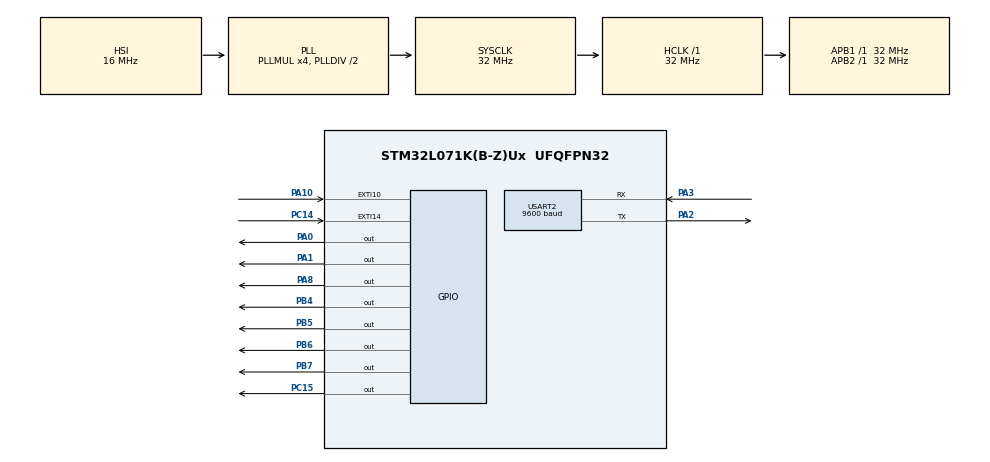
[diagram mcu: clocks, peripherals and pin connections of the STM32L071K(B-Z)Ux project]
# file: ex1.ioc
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Dma.MEMTOMEM.0.Direction=DMA_MEMORY_TO_MEMORY
Dma.MEMTOMEM.0.Instance=DMA1_Channel1
Dma.MEMTOMEM.0.MemDataAlignment=DMA_MDATAALIGN_BYTE
Dma.MEMTOMEM.0.MemInc=DMA_MINC_ENABLE
Dma.MEMTOMEM.0.Mode=DMA_NORMAL
Dma.MEMTOMEM.0.PeriphDataAlignment=DMA_PDATAALIGN_BYTE
Dma.MEMTOMEM.0.PeriphInc=DMA_PINC_ENABLE
Dma.MEMTOMEM.0.Priority=DMA_PRIORITY_LOW
Dma.Request0=MEMTOMEM
Dma.Request1=USART2_RX
Dma.USART2_RX.1.Direction=DMA_PERIPH_TO_MEMORY
Dma.USART2_RX.1.Instance=DMA1_Channel5
Dma.USART2_RX.1.MemDataAlignment=DMA_MDATAALIGN_BYTE
Dma.USART2_RX.1.MemInc=DMA_MINC_ENABLE
Dma.USART2_RX.1.Mode=DMA_CIRCULAR
Dma.USART2_RX.1.PeriphDataAlignment=DMA_PDATAALIGN_BYTE
Dma.USART2_RX.1.PeriphInc=DMA_PINC_DISABLE
Dma.USART2_RX.1.Priority=DMA_PRIORITY_LOW
Mcu.Family=STM32L0
Mcu.Name=STM32L071K(B-Z)Ux
Mcu.Package=UFQFPN32
NVIC.DMA1_Channel1_IRQn=true\:0\:0\:false\:false\:true\:true\:true
NVIC.DMA1_Channel4_5_6_7_IRQn=true\:0\:0\:false\:false\:true\:false\:true
NVIC.EXTI4_15_IRQn=true\:0\:0\:false\:false\:true\:true\:true
NVIC.TIM6_IRQn=true\:0\:0\:false\:false\:true\:true\:true
NVIC.USART2_IRQn=true\:0\:0\:false\:false\:true\:true\:true
PA0.Signal=GPIO_Output
PA1.Signal=GPIO_Output
PA10.Signal=GPXTI10
PA13.Mode=Serial_Wire
PA13.Signal=SYS_SWDIO
PA14.Mode=Serial_Wire
PA14.Signal=SYS_SWCLK
PA2.Mode=Asynchronous
PA2.Signal=USART2_TX
PA3.Mode=Asynchronous
PA3.Signal=USART2_RX
PA8.Signal=GPIO_Output
PB4.Signal=GPIO_Output
PB5.Signal=GPIO_Output
PB6.GPIO_FM6=I2C_FASTMODEPLUS_PB6
PB6.GPIO_ModeDefaultOutputPP=GPIO_MODE_OUTPUT_OD
PB6.GPIO_PuPd=GPIO_PULLDOWN
PB6.Signal=GPIO_Output
PB7.GPIO_FM7=I2C_FASTMODEPLUS_PB7
PB7.GPIO_ModeDefaultOutputPP=GPIO_MODE_OUTPUT_OD
PB7.GPIO_PuPd=GPIO_PULLDOWN
PB7.Signal=GPIO_Output
PC14-OSC32_IN.Signal=GPXTI14
PC15-OSC32_OUT.Signal=GPIO_Output
ProjectManager.HeapSize=0x200
ProjectManager.StackSize=0x400
ProjectManager.TargetToolchain=MDK-ARM V5
RCC.AHBFreq_Value=32000000
RCC.APB1Freq_Value=32000000
RCC.APB1TimFreq_Value=32000000
RCC.APB2Freq_Value=32000000
RCC.APB2TimFreq_Value=32000000
RCC.HCLKFreq_Value=32000000
RCC.HSI16_VALUE=16000000
RCC.HSI_VALUE=16000000
RCC.LSE_VALUE=32768
RCC.MSI_VALUE=2097000
RCC.PLLMUL=RCC_PLLMUL_4
RCC.SYSCLKFreq_VALUE=32000000
RCC.SYSCLKSource=RCC_SYSCLKSOURCE_PLLCLK
RCC.VCOOutputFreq_Value=64000000
RTC.SynchPrediv=307
TIM6.Period=999
TIM6.Prescaler=31
USART2.BaudRate=9600
USART2.VirtualMode-Asynchronous=VM_ASYNC
VP_CRC_VS_CRC.Mode=CRC_Activate
VP_RTC_VS_RTC_Activate.Mode=RTC_Enabled
VP_RTC_VS_RTC_Calendar.Mode=RTC_Calendar
VP_TIM6_VS_ClockSourceINT.Mode=Enable_Timer
board=custom

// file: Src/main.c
/* USER CODE BEGIN Header */
/**
  ******************************************************************************
  * @file           : main.c
  * @brief          : Main program body
  ******************************************************************************
  * @attention
  *
  * <h2><center>&copy; Copyright (c) 2019 STMicroelectronics.
  * All rights reserved.</center></h2>
  *
  * This software component is licensed by ST under BSD 3-Clause license,
  * the "License"; You may not use this file except in compliance with the
  * License. You may obtain a copy of the License at:
  *                        opensource.org/licenses/BSD-3-Clause
  *
  ******************************************************************************
  */
/* USER CODE END Header */

#include "main.h"
#include "crc.h"
#include "dma.h"
#include "rtc.h"
#include "tim.h"
#include "usart.h"
#include "gpio.h"

/* USER CODE BEGIN Includes */
#include "stm32l0xx_hal.h"
#include "zm4xx_gpio.h"
#include "spi.h"
#include "timer.h"
#include "stddef.h"
#include "sx127x_lora.h"
#include "i2c_2.h"
/* USER CODE END Includes */

/* USER CODE BEGIN PTD */
#define FREQ  (433000000)
void SystemClock_Config(void);
void Hardware_Init(void);
radio_handle_t  handle;
int ret = RADIO_RET_OK;

	uint16_t len = 0;
	uint8_t rx[200];
	uint8_t tx = 0x55;
	uint8_t cntr = 0;
	unsigned int time_100ms=1,time_500ms=1;
	unsigned int lora_flag=2,send_allow=1;
	float value;
	unsigned int key_flag=1;
	char lcdLine_1st_line[16];
  char lcdLine_2st_line[16];
	unsigned int x1=0,x2=0;
	unsigned char send[50]="123",reply[100],enter[]="\r\n",err[]="ERROP",ok[]="OK";
	unsigned int uart_flag=0;
	unsigned int max=26,min=22;
	unsigned int led1,led2;
/* USER CODE END PTD */

/* USER CODE BEGIN PD */
//ret = radio_buf_recv(handle, &rx, &len);
//			if(ret == RADIO_RET_OK){
//				if(rx == 0xAA){
//						HAL_GPIO_TogglePin(GPIOC, GPIO_PIN_15);
//				}
//			}
//
//			if(++cntr == 40){
//				radio_buf_send(handle, &tx, 1); 	//
//				radio_mode_set(handle, RX_MODE);
//				cntr = 0;
//			}
/* USER CODE END PD */

void SystemClock_Config(void);

/* USER CODE BEGIN 0 */
void Task_BrdInit(void)
{
    HAL_GPIO_WritePin(GPIOC, GPIO_PIN_15, GPIO_PIN_SET);

    OLED_PowerControl(ENABLE);

    HAL_Delay(200);
    OLED_Init();
    OLED_Clear();

    OLED_ShowString(0, 0, (unsigned char *)"                ", 16);
    OLED_ShowString(0, 2, (unsigned char *)"                ", 16);
}
void LoRa_Init(void)
{

	handle = radio_zm4xx_inst_init(spi_recv_byte,spi_send_byte,zm4xx_rst_pin_set,zm4xx_sel_pin_set,delay_ms,delay_us);

	if(handle != NULL){
		if(RADIO_RET_OK == radio_freq_set(handle, FREQ)){
				HAL_GPIO_WritePin(GPIOC, GPIO_PIN_15,GPIO_PIN_RESET);
		}

		radio_mode_set(handle, RX_MODE);	//Receive Mode
	}
}
void key(void);
void rx2(void);
void uart(void);
void led(void);
void node(void);
/* USER CODE END 0 */

int main(void)
{

  /* MCU Configuration--------------------------------------------------------*/

  /* Reset of all peripherals, Initializes the Flash interface and the Systick. */
  HAL_Init();

  /* Configure the system clock */
  SystemClock_Config();

  /* Initialize all configured peripherals */
  MX_GPIO_Init();
  MX_DMA_Init();
  MX_CRC_Init();
  MX_USART2_UART_Init();
  MX_RTC_Init();
  MX_TIM6_Init();
  /* USER CODE BEGIN 2 */
    Task_BrdInit();
		zm4xx_pin_init(); //LORA��Ҫ
    spi_init();//LORA��Ҫ
		LoRa_Init();
		HAL_TIM_Base_Start_IT(&htim6);
		__HAL_UART_CLEAR_IDLEFLAG(&huart2);
		__HAL_UART_ENABLE_IT(&huart2,UART_IT_IDLE);
		HAL_UART_Receive_DMA(&huart2,reply,20);
		HAL_UART_Transmit(&huart2,send,3,100);
  /* USER CODE END 2 */

  /* Infinite loop */
    while (1)
    {

    /* USER CODE BEGIN 3 */
			if(time_500ms==1)
			{
				value=temperature();
				time_500ms=0;
			}
			if(time_100ms==1)
			{
				OLED_ShowString(x1, 0, (unsigned char *)rx, 16);
				OLED_ShowString(x2, 2, (unsigned char *)lcdLine_2st_line, 16);
				time_100ms=0;
			}
			key();
			uart();
			led();
			node();
    }
  /* USER CODE END 3 */
}
/* USER CODE BEGIN 4 */
void node()
{
	char send[50];
	if(lora_flag==1)
	{
		send_allow=0;
		lora_flag=0;
		if(rx[0]=='1'&&rx[1]=='1')
		{
			sprintf(send, "1-%.1f-",value);
			radio_buf_send(handle,(unsigned char *)send,strlen(send));
			radio_mode_set(handle, RX_MODE);
		}
		if(rx[0]=='1'&&rx[1]=='2')
		{
			sprintf(send, "2-%d-%d-",max,min);
			radio_buf_send(handle,(unsigned char *)send,strlen(send));
			radio_mode_set(handle, RX_MODE);
		}
		if(rx[0]=='2'&&rx[1]=='1')
		{
			sprintf(send, "3-%d-",led1);
			radio_buf_send(handle,(unsigned char *)send,strlen(send));
			radio_mode_set(handle, RX_MODE);
		}
		if(rx[0]=='2'&&rx[1]=='2')
		{
			sprintf(send, "4-%d-",led2);
			radio_buf_send(handle,(unsigned char *)send,strlen(send));
			radio_mode_set(handle, RX_MODE);
		}
//		for(unsigned int i=0;i<20;i++)
//			rx[i]=0;
		send_allow=1;
	}
}
void led()
{
	if(value>max)
	{
		HAL_GPIO_WritePin(GPIOA, GPIO_PIN_0, GPIO_PIN_SET);
		HAL_GPIO_WritePin(GPIOA, GPIO_PIN_1, GPIO_PIN_RESET);
		led1=1;
		led2=0;
	}
	else if(value<min)
	{
		HAL_GPIO_WritePin(GPIOA, GPIO_PIN_0, GPIO_PIN_RESET);
		HAL_GPIO_WritePin(GPIOA, GPIO_PIN_1, GPIO_PIN_SET);
		led1=0;
		led2=1;
	}
	else
	{
		HAL_GPIO_WritePin(GPIOA, GPIO_PIN_0, GPIO_PIN_RESET);
		HAL_GPIO_WritePin(GPIOA, GPIO_PIN_1, GPIO_PIN_RESET);
		led1=0;
		led2=0;
	}
}
void uart()
{
	unsigned int max1,min1;
	if(uart_flag==1)
	{
		if(reply[0]=='M'&&reply[1]=='A'&&reply[2]=='X')
		{
			sscanf((char *)reply,"MAX%d",&max1);
			if(max1>min)
			{
				max=max1;
				HAL_UART_Transmit(&huart2,ok,3,100);
				HAL_UART_Transmit(&huart2,enter,3,100);
			}
			else
			{
				HAL_UART_Transmit(&huart2,err,6,100);
				HAL_UART_Transmit(&huart2,enter,3,100);
			}
		}
		else if(reply[0]=='M'&&reply[1]=='I'&&reply[2]=='N')
		{
			sscanf((char *)reply,"MIN%d",&min1);
			if(min1<max)
			{
				min=min1;
				HAL_UART_Transmit(&huart2,ok,3,100);
				HAL_UART_Transmit(&huart2,enter,3,100);
			}
			else
			{
				HAL_UART_Transmit(&huart2,err,6,100);
				HAL_UART_Transmit(&huart2,enter,3,100);
			}
		}
		else
		{
			HAL_UART_Transmit(&huart2,err,6,100);
			HAL_UART_Transmit(&huart2,enter,3,100);
		}
		for(unsigned int i=0;i<20;i++)
			reply[i]=0;
		uart_flag=0;
	}
}
void key()
{
	if(key_flag==1)
	{
		sprintf(lcdLine_1st_line, "Temperature");
		sprintf(lcdLine_2st_line, "%.1f",value);
		x1=24;
		x2=48;
	}
	if(key_flag==0)
	{
		sprintf(lcdLine_1st_line, "Tmax:%d",max);
		sprintf(lcdLine_2st_line, "Tmin:%d",min);
		x1=32;
		x2=32;
	}
}
void rx2()
{
	if(__HAL_UART_GET_FLAG(&huart2,UART_FLAG_IDLE))
	{
		__HAL_UART_CLEAR_IDLEFLAG(&huart2);
		HAL_UART_DMAStop(&huart2);
		uart_flag=1;
		HAL_UART_Receive_DMA(&huart2,reply,20);
	}
}
void HAL_TIM_PeriodElapsedCallback(TIM_HandleTypeDef *htim)
{
	static unsigned int a1=0,a2=0;
	if(htim->Instance==TIM6)
	{
		a1++;
		a2++;
		if(a1==100)
		{
			time_100ms=!time_100ms;
			a1=0;
		}
		if(a2==800)
		{
			time_500ms=!time_500ms;
			a2=0;
		}
	}
}
void HAL_GPIO_EXTI_Callback(uint16_t GPIO_Pin)
{
	if(GPIO_Pin==GPIO_PIN_10)
	{
		if(send_allow==1)
		{
			ret = radio_buf_recv(handle, rx, &len);
			lora_flag=1;
		}
	}
	if(GPIO_Pin==GPIO_PIN_14)
	{
		static unsigned int i=0;
		i++;
		if(i==1)
		{
			key_flag=!key_flag;
			i=0;
		}
	}
}
/* USER CODE END 4 */

void SystemClock_Config(void)
{
  RCC_OscInitTypeDef RCC_OscInitStruct = {0};
  RCC_ClkInitTypeDef RCC_ClkInitStruct = {0};
  RCC_PeriphCLKInitTypeDef PeriphClkInit = {0};

  /** Configure the main internal regulator output voltage
  */
  __HAL_PWR_VOLTAGESCALING_CONFIG(PWR_REGULATOR_VOLTAGE_SCALE1);
  /** Initializes the CPU, AHB and APB busses clocks
  */
  RCC_OscInitStruct.OscillatorType = RCC_OSCILLATORTYPE_HSI|RCC_OSCILLATORTYPE_LSI;
  RCC_OscInitStruct.HSIState = RCC_HSI_ON;
  RCC_OscInitStruct.HSICalibrationValue = RCC_HSICALIBRATION_DEFAULT;
  RCC_OscInitStruct.LSIState = RCC_LSI_ON;
  RCC_OscInitStruct.PLL.PLLState = RCC_PLL_ON;
  RCC_OscInitStruct.PLL.PLLSource = RCC_PLLSOURCE_HSI;
  RCC_OscInitStruct.PLL.PLLMUL = RCC_PLLMUL_4;
  RCC_OscInitStruct.PLL.PLLDIV = RCC_PLLDIV_2;
  if (HAL_RCC_OscConfig(&RCC_OscInitStruct) != HAL_OK)
  {
    Error_Handler();
  }
  /** Initializes the CPU, AHB and APB busses clocks
  */
  RCC_ClkInitStruct.ClockType = RCC_CLOCKTYPE_HCLK|RCC_CLOCKTYPE_SYSCLK
                              |RCC_CLOCKTYPE_PCLK1|RCC_CLOCKTYPE_PCLK2;
  RCC_ClkInitStruct.SYSCLKSource = RCC_SYSCLKSOURCE_PLLCLK;
  RCC_ClkInitStruct.AHBCLKDivider = RCC_SYSCLK_DIV1;
  RCC_ClkInitStruct.APB1CLKDivider = RCC_HCLK_DIV1;
  RCC_ClkInitStruct.APB2CLKDivider = RCC_HCLK_DIV1;

  if (HAL_RCC_ClockConfig(&RCC_ClkInitStruct, FLASH_LATENCY_1) != HAL_OK)
  {
    Error_Handler();
  }
  PeriphClkInit.PeriphClockSelection = RCC_PERIPHCLK_USART2|RCC_PERIPHCLK_RTC;
  PeriphClkInit.Usart2ClockSelection = RCC_USART2CLKSOURCE_PCLK1;
  PeriphClkInit.RTCClockSelection = RCC_RTCCLKSOURCE_LSI;
  if (HAL_RCCEx_PeriphCLKConfig(&PeriphClkInit) != HAL_OK)
  {
    Error_Handler();
  }
}

void Error_Handler(void)
{
}

/************************ (C) COPYRIGHT STMicroelectronics *****END OF FILE****/
